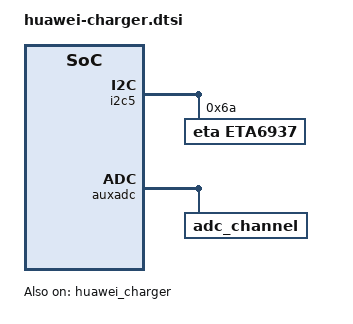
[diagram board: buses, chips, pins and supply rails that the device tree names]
&i2c5 {
	eta6937@6A {
		status = "okay";
		compatible = "eta,eta6937";
		reg = <0x6A>;

		/*ti,charging-disabled;*/
		ti,eta6937,enable-term;

		ti,eta6937,current-sensor-mohm = <56>;
		ti,eta6937,charge-voltage = <4400>;
		ti,eta6937,charge-current = <500>;
		ti,eta6937,input-current-limit = <500>;/*iin-lim, 0 means no limit*/
		ti,eta6937,input-voltage-limit = <4500>;/*vindpm threshold*/
		ti,eta6937,vbatlow-volt = <3500>;
		ti,eta6937,term-current = <185>;
		ti,eta6937,safety-max-charge-current = <1550>;
		ti,eta6937,safety-max-charge-voltage = <4400>;
	};
};

&charger {
	ac_charger_current = <1550000>;
	ac_charger_input_current = <1550000>;
	non_std_ac_charger_current = <1200000>;
        power_path_disable;
	dpm_enable;
	vdpm_buf_limit = <100>;
	vdpm_para =
			"-32767", "4000", "4200", "50",
			"4000", "4200", "4440", "50",
			"4200", "32767", "4600", "50";
};

&huawei_charger {
	compatible = "huawei,charger";
	powerdown_yellow_led = "0";
	status = "okay";
};

&auxadc {
	adc_channel@ {
		mediatek,usb_id_adc = <3>;
	};
};

&bat_gm30 {
	batt_id_volt_by_adc;
	vbus_r_charger_1 = <300>;
	rbat_pull_up_r = <16900>;
	dlpt_optimization;
};

&lk_charger{
	ac_charger_current = <1050000>;
	ac_charger_input_current = <1050000>;
	non_std_ac_charger_current = <1050000>;
        power_path_disable;
	r_charger_1 = <300>;
	chr_cust_data.led_mode = <1>;
};

&mt6370_pmu{
    charger {
	    status = "disabled";
    };
};

&dev_detect {
    charge = <1>;
};

&otg_iddig {
	otg_gpio = <&pio 41 0x0>;
	id_adc_detect_channel3;
	usb_eye_pattern;
};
